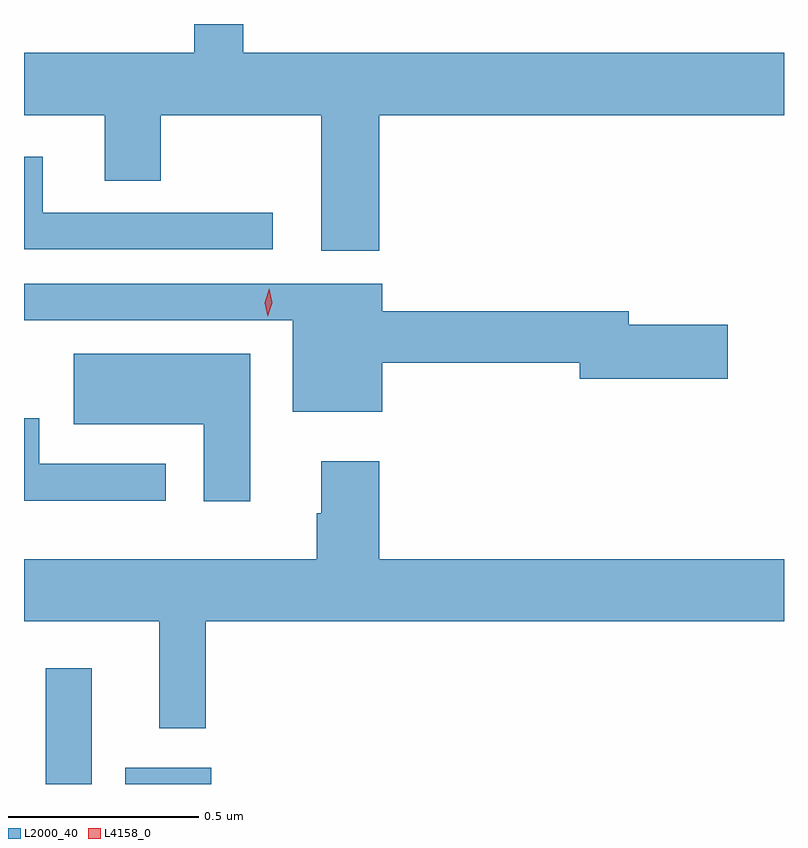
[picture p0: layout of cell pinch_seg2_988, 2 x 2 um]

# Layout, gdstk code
import gdstk
lib = gdstk.Library(unit=1e-6, precision=1e-09)
def R(c, l, rs):  # rectangles x0, y0, x1, y1
    for r in rs: c.add(gdstk.rectangle(r[:2], r[2:], *l))
def P(c, l, *ps):  # polygons
    for p in ps: c.add(gdstk.Polygon(p, *l))
L2000_40 = (2000, 40)
L4158_0 = (4158, 0)

pinch_seg2_988 = lib.new_cell('pinch_seg2_988')
R(pinch_seg2_988, L2000_40, [(342.426,656.532,342.547,656.836), (342.635,656.532,342.862,656.575)])
P(pinch_seg2_988, L2000_40, [(343.304,658.292),(344.369,658.292),(344.369,658.456),(342.946,658.456),(342.946,658.532),(342.817,658.532),(342.817,658.456),(342.369,658.456),(342.369,658.292),(342.581,658.292),(342.581,658.12),(342.729,658.12),(342.729,658.292),(343.151,658.292),(343.151,657.935),(343.304,657.935)],
  [(343.024,658.035),(342.418,658.035),(342.418,658.183),(342.369,658.183),(342.369,657.939),(343.024,657.939)],
  [(343.312,657.64),(343.832,657.64),(343.832,657.598),(344.221,657.598),(344.221,657.74),(343.96,657.74),(343.96,657.776),(343.312,657.776),(343.312,657.849),(342.369,657.849),(342.369,657.753),(343.076,657.753),(343.076,657.512),(343.312,657.512)],
  [(342.964,657.664),(342.5,657.664),(342.5,657.479),(342.842,657.479),(342.842,657.276),(342.964,657.276)],
  [(342.742,657.375),(342.409,657.375),(342.409,657.495),(342.369,657.495),(342.369,657.278),(342.742,657.278)],
  [(342.847,656.96),(344.369,656.96),(344.369,657.124),(343.304,657.124),(343.304,657.382),(343.151,657.382),(343.151,657.245),(343.139,657.245),(343.139,657.124),(342.369,657.124),(342.369,656.96),(342.725,656.96),(342.725,656.679),(342.847,656.679)])
P(pinch_seg2_988, L4158_0, [(343.011,657.763),(343.011,657.763),(343.003,657.799),(343.014,657.835),(343.014,657.835),(343.014,657.835),(343.022,657.798),(343.011,657.763)])

lib.write_gds('pinch_seg2_988.gds')
